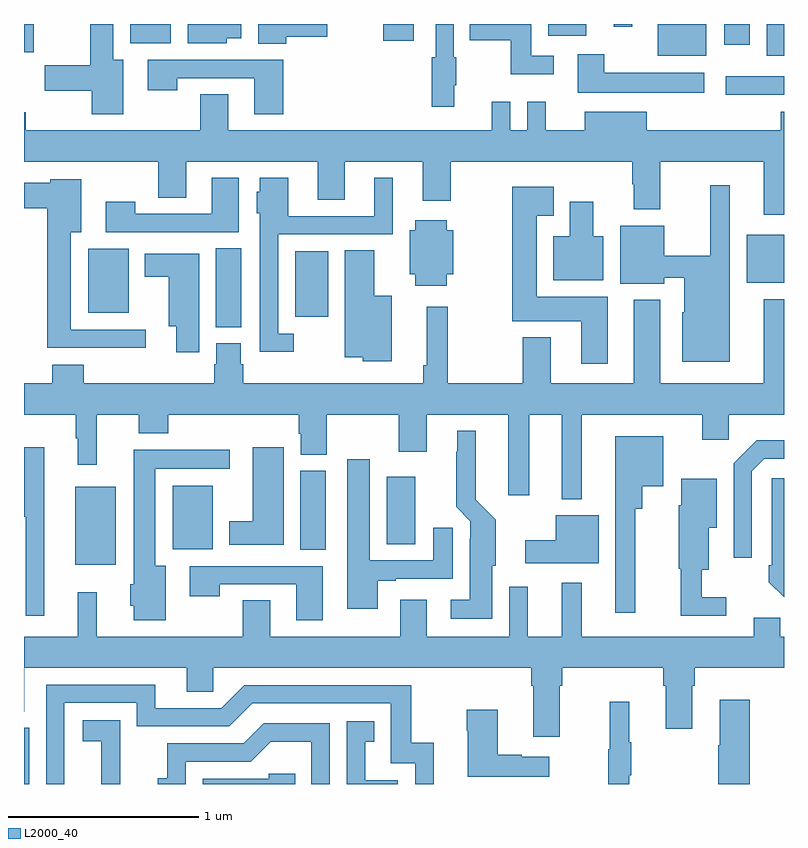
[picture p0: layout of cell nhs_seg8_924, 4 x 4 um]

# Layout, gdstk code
import gdstk
lib = gdstk.Library(unit=1e-6, precision=1e-09)
def R(c, l, rs):  # rectangles x0, y0, x1, y1
    for r in rs: c.add(gdstk.rectangle(r[:2], r[2:], *l))
def P(c, l, *ps):  # polygons
    for p in ps: c.add(gdstk.Polygon(p, *l))
L2000_40 = (2000, 40)

nhs_seg8_924 = lib.new_cell('nhs_seg8_924')
R(nhs_seg8_924, L2000_40, [(171,1103.9,171.027,1104.195), (171.269,1105.055,171.484,1105.465), (172.454,1105.132,172.588,1105.548), (171.782,1105.136,171.994,1105.471), (172.91,1105.162,173.059,1105.516), (172.01,1106.305,172.144,1106.72), (172.427,1106.36,172.6,1106.704), (171.338,1106.381,171.55,1106.716), (174.803,1106.537,175,1106.791), (174.693,1107.528,175,1107.624), (174.335,1107.734,174.592,1107.9), (174.908,1107.734,175,1107.9), (171,1107.752,171.052,1107.9), (174.686,1107.792,174.82,1107.9), (171.56,1107.8,171.772,1107.9), (172.892,1107.813,173.05,1107.9), (173.759,1107.839,173.959,1107.9), (174.104,1107.885,174.202,1107.9)])
P(nhs_seg8_924, L2000_40, [(173.264,1107.577),(173.275,1107.577),(173.275,1107.725),(173.262,1107.725),(173.262,1107.9),(173.166,1107.9),(173.166,1107.725),(173.146,1107.725),(173.146,1107.465),(173.264,1107.465)],
  [(171.523,1107.712),(171.469,1107.712),(171.469,1107.9),(171.349,1107.9),(171.349,1107.683),(171.108,1107.683),(171.108,1107.548),(171.356,1107.548),(171.356,1107.426),(171.523,1107.426)],
  [(173.788,1107.732),(173.67,1107.732),(173.67,1107.9),(173.347,1107.9),(173.347,1107.814),(173.562,1107.814),(173.562,1107.635),(173.788,1107.635)],
  [(172.068,1107.824),(172.144,1107.824),(172.144,1107.9),(171.863,1107.9),(171.863,1107.8),(172.068,1107.8)],
  [(172.379,1107.833),(172.597,1107.833),(172.597,1107.9),(172.232,1107.9),(172.232,1107.796),(172.379,1107.796)],
  [(174.58,1107.643),(174.055,1107.643),(174.055,1107.742),(173.915,1107.742),(173.915,1107.539),(174.58,1107.539)],
  [(172.364,1107.711),(171.651,1107.711),(171.651,1107.552),(171.807,1107.552),(171.807,1107.615),(172.211,1107.615),(172.211,1107.426),(172.364,1107.426)],
  [(175,1107.439),(174.983,1107.439),(174.983,1107.34),(174.277,1107.34),(174.277,1107.439),(173.951,1107.439),(173.951,1107.34),(173.747,1107.34),(173.747,1107.49),(173.649,1107.49),(173.649,1107.34),(173.559,1107.34),(173.559,1107.49),(173.462,1107.49),(173.462,1107.34),(172.075,1107.34),(172.075,1107.53),(171.928,1107.53),(171.928,1107.34),(171.01,1107.34),(171.01,1107.436),(171,1107.436),(171,1107.176),(171.706,1107.176),(171.706,1106.986),(171.853,1106.986),(171.853,1107.176),(172.547,1107.176),(172.547,1106.974),(172.687,1106.974),(172.687,1107.176),(173.099,1107.176),(173.099,1106.97),(173.247,1106.97),(173.247,1107.176),(174.202,1107.176),(174.202,1107.056),(174.209,1107.056),(174.209,1106.924),(174.349,1106.924),(174.349,1107.176),(174.893,1107.176),(174.893,1106.895),(175,1106.895)],
  [(172.42,1106.271),(172.338,1106.271),(172.338,1106.793),(172.942,1106.793),(172.942,1107.091),(172.844,1107.091),(172.844,1106.889),(172.39,1106.889),(172.39,1107.091),(172.241,1107.091),(172.241,1107.018),(172.226,1107.018),(172.226,1106.904),(172.242,1106.904),(172.242,1106.174),(172.42,1106.174)],
  [(172.129,1107.091),(171.989,1107.091),(171.989,1106.901),(171.585,1106.901),(171.585,1106.965),(171.429,1106.965),(171.429,1106.805),(172.129,1106.805)],
  [(171.64,1106.292),(171.247,1106.292),(171.247,1106.804),(171.301,1106.804),(171.301,1107.082),(171.138,1107.082),(171.138,1107.064),(171,1107.064),(171,1106.93),(171.122,1106.93),(171.122,1106.195),(171.64,1106.195)],
  [(174.715,1107.052),(174.611,1107.052),(174.611,1106.681),(174.37,1106.681),(174.37,1106.839),(174.137,1106.839),(174.137,1106.534),(174.37,1106.534),(174.37,1106.564),(174.476,1106.564),(174.476,1106.382),(174.464,1106.382),(174.464,1106.123),(174.715,1106.123)],
  [(174.073,1106.464),(173.698,1106.464),(173.698,1106.891),(173.788,1106.891),(173.788,1107.043),(173.569,1107.043),(173.569,1106.336),(173.933,1106.336),(173.933,1106.112),(174.073,1106.112)],
  [(174.049,1106.782),(173.995,1106.782),(173.995,1106.965),(173.873,1106.965),(173.873,1106.782),(173.786,1106.782),(173.786,1106.552),(174.049,1106.552)],
  [(173.226,1106.582),(173.26,1106.582),(173.26,1106.815),(173.226,1106.815),(173.226,1106.866),(173.06,1106.866),(173.06,1106.815),(173.03,1106.815),(173.03,1106.582),(173.06,1106.582),(173.06,1106.522),(173.226,1106.522)],
  [(172.936,1106.47),(172.843,1106.47),(172.843,1106.708),(172.688,1106.708),(172.688,1106.147),(172.782,1106.147),(172.782,1106.126),(172.936,1106.126)],
  [(171.922,1106.692),(171.635,1106.692),(171.635,1106.57),(171.761,1106.57),(171.761,1106.309),(171.8,1106.309),(171.8,1106.172),(171.922,1106.172)],
  [(173.935,1105.844),(174.569,1105.844),(174.569,1105.713),(174.708,1105.713),(174.708,1105.844),(175,1105.844),(175,1106.452),(174.893,1106.452),(174.893,1106.008),(174.349,1106.008),(174.349,1106.449),(174.209,1106.449),(174.209,1106.008),(173.773,1106.008),(173.773,1106.251),(173.626,1106.251),(173.626,1106.008),(173.23,1106.008),(173.23,1106.413),(173.12,1106.413),(173.12,1106.104),(173.101,1106.104),(173.101,1106.008),(172.154,1106.008),(172.154,1106.109),(172.141,1106.109),(172.141,1106.22),(172.013,1106.22),(172.013,1106.109),(172.001,1106.109),(172.001,1106.008),(171.314,1106.008),(171.314,1106.107),(171.149,1106.107),(171.149,1106.008),(171,1106.008),(171,1105.844),(171.273,1105.844),(171.273,1105.721),(171.284,1105.721),(171.284,1105.581),(171.384,1105.581),(171.384,1105.844),(171.605,1105.844),(171.605,1105.745),(171.758,1105.745),(171.758,1105.844),(172.445,1105.844),(172.445,1105.743),(172.457,1105.743),(172.457,1105.633),(172.593,1105.633),(172.593,1105.844),(172.972,1105.844),(172.972,1105.65),(173.119,1105.65),(173.119,1105.844),(173.549,1105.844),(173.549,1105.419),(173.659,1105.419),(173.659,1105.844),(173.831,1105.844),(173.831,1105.4),(173.935,1105.4)],
  [(173.464,1105.05),(173.482,1105.05),(173.482,1105.29),(173.377,1105.396),(173.377,1105.759),(173.279,1105.759),(173.279,1105.649),(173.275,1105.649),(173.275,1105.358),(173.349,1105.284),(173.349,1105.19),(173.345,1105.19),(173.345,1104.871),(173.247,1104.871),(173.247,1104.77),(173.464,1104.77)],
  [(174.217,1105.349),(174.253,1105.349),(174.253,1105.466),(174.364,1105.466),(174.364,1105.729),(174.113,1105.729),(174.113,1104.801),(174.217,1104.801)],
  [(174.831,1105.545),(174.897,1105.611),(175,1105.611),(175,1105.708),(174.856,1105.708),(174.735,1105.587),(174.735,1105.092),(174.831,1105.092)],
  [(172.366,1105.672),(172.205,1105.672),(172.205,1105.282),(172.079,1105.282),(172.079,1105.16),(172.366,1105.16)],
  [(171.106,1105.672),(171,1105.672),(171,1105.307),(171.009,1105.307),(171.009,1104.786),(171.106,1104.786)],
  [(171.745,1105.048),(171.691,1105.048),(171.691,1105.56),(172.084,1105.56),(172.084,1105.658),(171.578,1105.658),(171.578,1104.951),(171.56,1104.951),(171.56,1104.837),(171.578,1104.837),(171.578,1104.762),(171.745,1104.762)],
  [(172.861,1104.969),(172.957,1104.969),(172.957,1104.981),(173.257,1104.981),(173.257,1105.249),(173.153,1105.249),(173.153,1105.077),(172.819,1105.077),(172.819,1105.609),(172.7,1105.609),(172.7,1104.822),(172.861,1104.822)],
  [(175,1105.509),(174.936,1105.509),(174.936,1105.051),(174.921,1105.051),(174.921,1104.963),(175,1104.884)],
  [(174.697,1104.883),(174.568,1104.883),(174.568,1105.028),(174.604,1105.028),(174.604,1105.25),(174.646,1105.25),(174.646,1105.507),(174.458,1105.507),(174.458,1105.368),(174.446,1105.368),(174.446,1105.032),(174.457,1105.032),(174.457,1104.786),(174.697,1104.786)],
  [(174.025,1105.315),(173.798,1105.315),(173.798,1105.183),(173.637,1105.183),(173.637,1105.061),(174.025,1105.061)],
  [(172.573,1105.047),(171.873,1105.047),(171.873,1104.888),(172.029,1104.888),(172.029,1104.951),(172.433,1104.951),(172.433,1104.762),(172.573,1104.762)],
  [(173.821,1104.416),(173.834,1104.416),(173.834,1104.512),(174.365,1104.512),(174.365,1104.416),(174.377,1104.416),(174.377,1104.192),(174.517,1104.192),(174.517,1104.416),(174.53,1104.416),(174.53,1104.512),(175,1104.512),(175,1104.676),(174.981,1104.676),(174.981,1104.774),(174.842,1104.774),(174.842,1104.676),(173.935,1104.676),(173.935,1104.958),(173.831,1104.958),(173.831,1104.676),(173.651,1104.676),(173.651,1104.937),(173.553,1104.937),(173.553,1104.676),(173.119,1104.676),(173.119,1104.871),(172.979,1104.871),(172.979,1104.676),(172.297,1104.676),(172.297,1104.866),(172.15,1104.866),(172.15,1104.676),(171.382,1104.676),(171.382,1104.91),(171.284,1104.91),(171.284,1104.676),(171,1104.676),(171,1104.28),(171.001,1104.28),(171.001,1104.512),(171.857,1104.512),(171.857,1104.385),(171.996,1104.385),(171.996,1104.512),(173.669,1104.512),(173.669,1104.416),(173.681,1104.416),(173.681,1104.15),(173.821,1104.15)],
  [(171.213,1104.327),(171.594,1104.327),(171.594,1104.204),(172.08,1104.204),(172.2,1104.324),(172.929,1104.324),(172.929,1104.009),(173.058,1104.009),(173.058,1103.9),(173.156,1103.9),(173.156,1104.118),(173.038,1104.118),(173.038,1104.42),(172.158,1104.42),(172.038,1104.3),(171.691,1104.3),(171.691,1104.423),(171.117,1104.423),(171.117,1103.9),(171.213,1103.9)],
  [(174.821,1104.343),(174.662,1104.343),(174.662,1104.104),(174.655,1104.104),(174.655,1103.9),(174.821,1103.9)],
  [(174.185,1103.947),(174.196,1103.947),(174.196,1104.121),(174.185,1104.121),(174.185,1104.334),(174.082,1104.334),(174.082,1104.084),(174.075,1104.084),(174.075,1103.9),(174.185,1103.9)],
  [(173.764,1104.043),(173.621,1104.043),(173.621,1104.053),(173.494,1104.053),(173.494,1104.292),(173.329,1104.292),(173.329,1104.179),(173.336,1104.179),(173.336,1103.939),(173.764,1103.939)],
  [(171.506,1104.029),(171.507,1104.029),(171.507,1104.235),(171.309,1104.235),(171.309,1104.125),(171.407,1104.125),(171.407,1103.9),(171.506,1103.9)],
  [(172.968,1103.919),(172.795,1103.919),(172.795,1104.123),(172.844,1104.123),(172.844,1104.229),(172.698,1104.229),(172.698,1103.9),(172.968,1103.9)],
  [(171.852,1104.018),(172.194,1104.018),(172.298,1104.122),(172.512,1104.122),(172.512,1103.9),(172.608,1103.9),(172.608,1104.219),(172.262,1104.219),(172.157,1104.114),(171.754,1104.114),(171.754,1103.929),(171.705,1103.929),(171.705,1103.9),(171.852,1103.9)],
  [(172.427,1103.955),(172.287,1103.955),(172.287,1103.928),(171.942,1103.928),(171.942,1103.9),(172.427,1103.9)])

lib.write_gds('nhs_seg8_924.gds')
